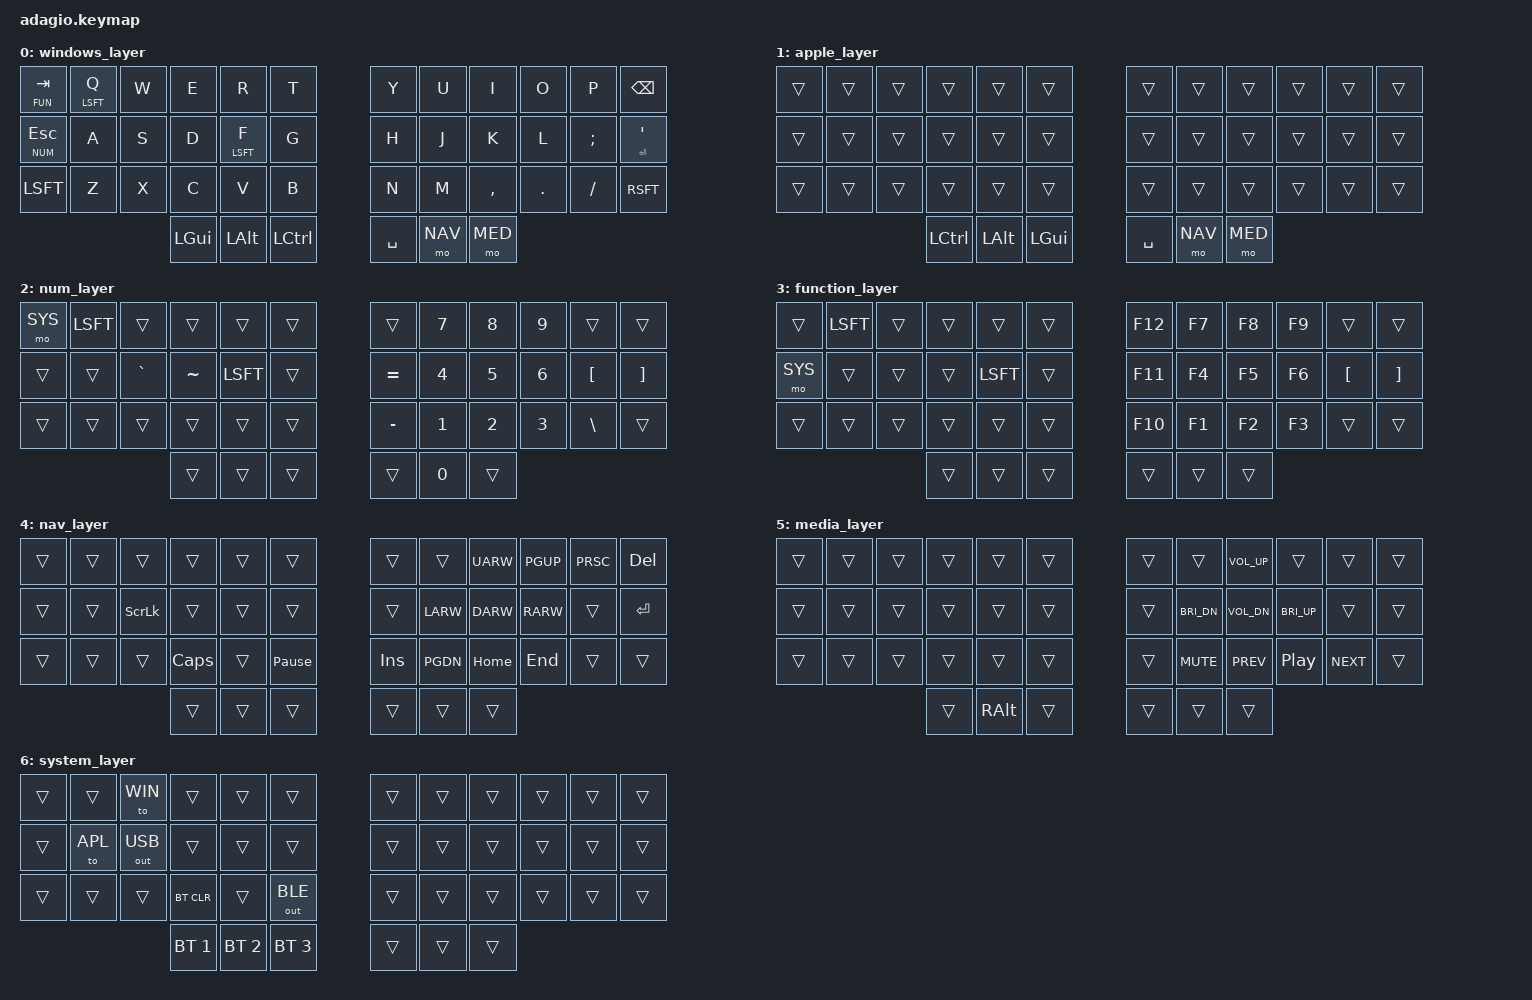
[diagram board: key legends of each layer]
#include <behaviors.dtsi>
#include <dt-bindings/zmk/bt.h>
#include <dt-bindings/zmk/keys.h>
#include <dt-bindings/zmk/outputs.h>

#define WIN 0
#define APL 1
#define NUM 2
#define FUN 3
#define NAV 4
#define MED 5
#define SYS 6

// %%%%%%%%%%%%%%%%%%%%%%%%%%%%%%%%%%%%%%%%%%%%%%%%%%%%%%%%%%%%%%%%%
// [Keymap 3Jan2022 21:03]
// %%%%%%%%%%%%%%%%%%%%%%%%%%%%%%%%%%%%%%%%%%%%%%%%%%%%%%%%%%%%%%%%%

/ {
    behaviors {
        hlt: hold_preferred_layer_tap {
            compatible = "zmk,behavior-hold-tap";
            label = "HOLD_PREFERRED_LAYER_TAP";
            #binding-cells = <2>;
            flavor = "hold-preferred";
            tapping-term-ms = <300>;
            bindings = <&mo>, <&kp>;
        };

        pht: pos_hold_tap {
            compatible = "zmk,behavior-hold-tap";
            label = "POSITIONAL_HOLD_TAP";
            #binding-cells = <2>;
            flavor = "tap-unless-interrupted";
            tapping-term-ms = <50>;
            bindings = <&kp>, <&kp>;
            hold-trigger-key-positions = <0 12>;
        };

        cht: combo_like_hold_tap {
            compatible = "zmk,behavior-hold-tap";
            label = "COMBO_LIKE_HOLD_TAP";
            #binding-cells = <2>;
            flavor = "tap-unless-interrupted";
            tapping-term-ms = <200>;
            bindings = <&kp>, <&kp>;
            hold-trigger-key-positions = <40>;
        };
    };

    combos {
        compatible = "zmk,combos";
        combo_menu {
            timeout-ms = <50>;
            key-positions = <18 19>;
            bindings = <&kp K_CMENU>;
        };
    };

    keymap {
        compatible = "zmk,keymap";

        windows_layer {
            bindings = <
&hlt FUN TAB  &pht LSFT Q  &kp W    &kp E       &kp R      &kp T    /**/   &kp Y    &kp U    &kp I     &kp O    &kp P      &kp BKSP
&hlt NUM ESC     &kp A     &kp S    &kp D    &pht LSFT F   &kp G    /**/   &kp H    &kp J    &kp K     &kp L   &kp SCLN  &cht RET QUOT
  &kp LSFT       &kp Z     &kp X    &kp C       &kp V      &kp B    /**/   &kp N    &kp M   &kp CMMA  &kp DOT  &kp FSLH    &kp RSFT
                                   &kp LGUI   &kp LALT    &kp LCTL  /**/  &kp SPC  &mo NAV  &mo MED
            >;
        };
        
        apple_layer {
            bindings = <
&trans  &trans  &trans   &trans    &trans    &trans   /**/  &trans   &trans   &trans   &trans  &trans  &trans
&trans  &trans  &trans   &trans    &trans    &trans   /**/  &trans   &trans   &trans   &trans  &trans  &trans
&trans  &trans  &trans   &trans    &trans    &trans   /**/  &trans   &trans   &trans   &trans  &trans  &trans
                        &kp LCTL  &kp LALT  &kp LGUI  /**/  &kp SPC  &mo NAV  &mo MED
            >;
        };

        num_layer {
            bindings = <
&mo SYS  &kp LSFT   &trans    &trans     &trans   &trans  /**/   &trans    &kp NUM_7  &kp NUM_8  &kp NUM_9   &trans    &trans
&trans    &trans   &kp GRAV  &kp TILDE  &kp LSFT  &trans  /**/   &kp EQL   &kp NUM_4  &kp NUM_5  &kp NUM_6  &kp LBKT  &kp RBKT
&trans    &trans    &trans    &trans     &trans   &trans  /**/  &kp MINUS  &kp NUM_1  &kp NUM_2  &kp NUM_3  &kp BSLH   &trans
                              &trans     &trans   &trans  /**/   &trans    &kp NUM_0   &trans
            >;
        };

        function_layer {
            bindings = <
&trans    &kp LSFT   &trans   &trans   &trans    &trans  /**/  &kp F12   &kp F7   &kp F8   &kp F9    &trans     &trans
&mo SYS    &trans    &trans   &trans  &kp LSFT   &trans  /**/  &kp F11   &kp F4   &kp F5   &kp F6   &kp LBKT   &kp RBKT
&trans     &trans    &trans   &trans   &trans    &trans  /**/  &kp F10   &kp F1   &kp F2   &kp F3    &trans     &trans
                              &trans   &trans    &trans  /**/  &trans    &trans   &trans
            >;
        };

        nav_layer {
            bindings = <
&trans  &trans  &trans    &trans    &trans    &trans         /**/  &trans   &trans    &kp UARW  &kp PGUP  &kp PRSC  &kp DEL
&trans  &trans  &kp SLCK  &trans    &trans    &trans         /**/  &trans   &kp LARW  &kp DARW  &kp RARW   &trans   &kp RET
&trans  &trans  &trans    &kp CLCK  &trans  &kp PAUSE_BREAK  /**/  &kp INS  &kp PGDN  &kp HOME  &kp END    &trans   &trans
                          &trans    &trans    &trans         /**/  &trans   &trans    &trans
            >;
        };

        media_layer {
            bindings = <
&trans  &trans   &trans   &trans   &trans   &trans  /**/  &trans    &trans      &kp C_VOL_UP      &trans          &trans    &trans
&trans  &trans   &trans   &trans   &trans   &trans  /**/  &trans  &kp C_BRI_DN  &kp C_VOL_DN    &kp C_BRI_UP      &trans    &trans
&trans  &trans   &trans   &trans   &trans   &trans  /**/  &trans  &kp C_MUTE     &kp C_PREV   &kp C_PLAY_PAUSE  &kp C_NEXT  &trans
                          &trans  &kp RALT  &trans  /**/  &trans    &trans        &trans
            >;
        };

        system_layer {
            bindings = <
&trans  &trans      &to WIN       &trans       &trans         &trans     /**/  &trans  &trans  &trans  &trans  &trans  &trans
&trans  &to APL  &out OUT_USB     &trans       &trans         &trans     /**/  &trans  &trans  &trans  &trans  &trans  &trans
&trans  &trans      &trans      &bt BT_CLR     &trans      &out OUT_BLE  /**/  &trans  &trans  &trans  &trans  &trans  &trans
                               &bt BT_SEL 1  &bt BT_SEL 2  &bt BT_SEL 3  /**/  &trans  &trans  &trans
            >;
        };
    };
};
